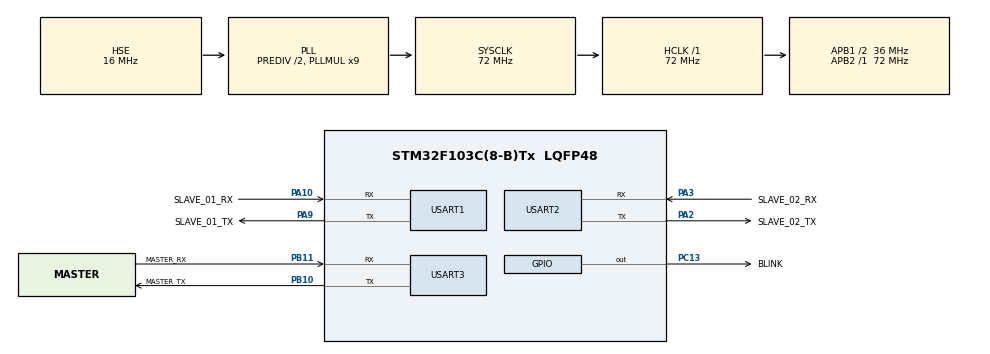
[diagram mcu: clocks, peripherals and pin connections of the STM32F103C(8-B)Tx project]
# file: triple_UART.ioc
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Dma.Request0=USART1_RX
Dma.Request1=USART3_RX
Dma.Request2=USART2_RX
Dma.USART1_RX.0.Direction=DMA_PERIPH_TO_MEMORY
Dma.USART1_RX.0.Instance=DMA1_Channel5
Dma.USART1_RX.0.MemDataAlignment=DMA_MDATAALIGN_BYTE
Dma.USART1_RX.0.MemInc=DMA_MINC_ENABLE
Dma.USART1_RX.0.Mode=DMA_CIRCULAR
Dma.USART1_RX.0.PeriphDataAlignment=DMA_PDATAALIGN_BYTE
Dma.USART1_RX.0.PeriphInc=DMA_PINC_DISABLE
Dma.USART1_RX.0.Priority=DMA_PRIORITY_HIGH
Dma.USART2_RX.2.Direction=DMA_PERIPH_TO_MEMORY
Dma.USART2_RX.2.Instance=DMA1_Channel6
Dma.USART2_RX.2.MemDataAlignment=DMA_MDATAALIGN_BYTE
Dma.USART2_RX.2.MemInc=DMA_MINC_ENABLE
Dma.USART2_RX.2.Mode=DMA_CIRCULAR
Dma.USART2_RX.2.PeriphDataAlignment=DMA_PDATAALIGN_BYTE
Dma.USART2_RX.2.PeriphInc=DMA_PINC_DISABLE
Dma.USART2_RX.2.Priority=DMA_PRIORITY_MEDIUM
Dma.USART3_RX.1.Direction=DMA_PERIPH_TO_MEMORY
Dma.USART3_RX.1.Instance=DMA1_Channel3
Dma.USART3_RX.1.MemDataAlignment=DMA_MDATAALIGN_BYTE
Dma.USART3_RX.1.MemInc=DMA_MINC_ENABLE
Dma.USART3_RX.1.Mode=DMA_CIRCULAR
Dma.USART3_RX.1.PeriphDataAlignment=DMA_PDATAALIGN_BYTE
Dma.USART3_RX.1.PeriphInc=DMA_PINC_DISABLE
Dma.USART3_RX.1.Priority=DMA_PRIORITY_VERY_HIGH
Mcu.Family=STM32F1
Mcu.Name=STM32F103C(8-B)Tx
Mcu.Package=LQFP48
NVIC.DMA1_Channel3_IRQn=true\:0\:0\:false\:false\:true\:false\:true\:true
NVIC.DMA1_Channel5_IRQn=true\:1\:0\:true\:false\:true\:false\:true\:true
NVIC.DMA1_Channel6_IRQn=true\:2\:0\:true\:false\:true\:false\:true\:true
NVIC.PriorityGroup=NVIC_PRIORITYGROUP_4
NVIC.USART1_IRQn=true\:0\:0\:false\:false\:true\:true\:true\:true
NVIC.USART2_IRQn=true\:1\:0\:true\:false\:true\:true\:true\:true
NVIC.USART3_IRQn=true\:2\:0\:true\:false\:true\:true\:true\:true
PA10.GPIO_Label=SLAVE_01_RX
PA10.Mode=Asynchronous
PA10.Signal=USART1_RX
PA13.Mode=Serial_Wire
PA13.Signal=SYS_JTMS-SWDIO
PA14.Mode=Serial_Wire
PA14.Signal=SYS_JTCK-SWCLK
PA2.GPIO_Label=SLAVE_02_TX
PA2.Mode=Asynchronous
PA2.Signal=USART2_TX
PA3.GPIO_Label=SLAVE_02_RX
PA3.Mode=Asynchronous
PA3.Signal=USART2_RX
PA9.GPIO_Label=SLAVE_01_TX
PA9.Mode=Asynchronous
PA9.Signal=USART1_TX
PB10.GPIO_Label=MASTER_TX
PB10.Mode=Asynchronous
PB10.Signal=USART3_TX
PB11.GPIO_Label=MASTER_RX
PB11.Mode=Asynchronous
PB11.Signal=USART3_RX
PC13-TAMPER-RTC.GPIO_Label=BLINK
PC13-TAMPER-RTC.Signal=GPIO_Output
PD0-OSC_IN.Mode=HSE-External-Oscillator
PD0-OSC_IN.Signal=RCC_OSC_IN
PD1-OSC_OUT.Mode=HSE-External-Oscillator
PD1-OSC_OUT.Signal=RCC_OSC_OUT
ProjectManager.HeapSize=0x200
ProjectManager.StackSize=0x400
ProjectManager.TargetToolchain=STM32CubeIDE
RCC.AHBFreq_Value=72000000
RCC.APB1CLKDivider=RCC_HCLK_DIV2
RCC.APB1Freq_Value=36000000
RCC.APB1TimFreq_Value=72000000
RCC.APB2Freq_Value=72000000
RCC.APB2TimFreq_Value=72000000
RCC.HCLKFreq_Value=72000000
RCC.HSEDivPLL=RCC_HSE_PREDIV_DIV2
RCC.HSE_VALUE=16000000
RCC.PLLMUL=RCC_PLL_MUL9
RCC.PLLSourceVirtual=RCC_PLLSOURCE_HSE
RCC.SYSCLKFreq_VALUE=72000000
RCC.SYSCLKSource=RCC_SYSCLKSOURCE_PLLCLK
RCC.USBFreq_Value=72000000
USART1.VirtualMode=VM_ASYNC
USART2.VirtualMode=VM_ASYNC
USART3.VirtualMode=VM_ASYNC
board=custom

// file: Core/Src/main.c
/* USER CODE BEGIN Header */
/**
 ******************************************************************************
 * @file           : main.c
 * @brief          : Main program body
 ******************************************************************************
 * @attention
 *
 * Copyright (c) 2025 STMicroelectronics.
 * All rights reserved.
 *
 * This software is licensed under terms that can be found in the LICENSE file
 * in the root directory of this software component.
 * If no LICENSE file comes with this software, it is provided AS-IS.
 *
 ******************************************************************************
 */
/* USER CODE END Header */
#include "main.h"

/* USER CODE BEGIN Includes */
#include <stdbool.h>
#include <stdio.h>

/* USER CODE END Includes */

/* USER CODE BEGIN PTD */
#define MAX_DATA_LEN 16 // Maksimum veri boyutu (başlık + veri boyu + tür + adres + veri)
uint8_t unsignedData[MAX_DATA_LEN] = {0x45, 0x43, 0x45, 0x00, 0x00};
uint8_t signedData[MAX_DATA_LEN] = {0x00, 0x45, 0x43, 0x45, 0x00, 0x00};
volatile bool dualMode = false;
volatile bool transmitFlag = false;

uint8_t _1uartHeader[1];          // Başlık (2) + Veri boyu (1) + Tür(1) + Adres + Veri
uint8_t _1uartData[MAX_DATA_LEN]; // Başlık (2) + Veri boyu (1) + Tür(1) + Adres + Veri

uint8_t _2uartHeader[1];          // Başlık (2) + Veri boyu (1) + Tür(1) + Adres + Veri
uint8_t _2uartData[MAX_DATA_LEN]; // Başlık (2) + Veri boyu (1) + Tür(1) + Adres + Veri

uint8_t _3uartHeader[1];          // Başlık (2) + Veri boyu (1) + Tür(1) + Adres + Veri
uint8_t _3uartData[MAX_DATA_LEN]; // Başlık (2) + Veri boyu (1) + Tür(1) + Adres + Veri

uint8_t _3MyDirection = 0;           // 01 -> 1.Makine ___ 02 -> 2.Makine ___ 03 -> MASTER
volatile bool _2MyDirection = false; // 01 -> 1.Makine ___ 02 -> 2.Makine ___ 03 -> MASTER
volatile bool _1MyDirection = false; // 01 -> 1.Makine ___ 02 -> 2.Makine ___ 03 -> MASTER

uint8_t _3dataLen = 0;               // Alınan veri boyutu
volatile bool _3headerCheck = false; // Başlık kontrolü için değişken
volatile bool _3header0 = false;     // başlık 1. bayte kontrolü için değişken
volatile bool _3header1 = false;     // başlık 2. bayte kontrolü için değişken
volatile bool _3header2 = false;     // başlık 2. bayte kontrolü için değişken

uint8_t _2dataLen = 0;               // Alınan veri boyutu
volatile bool _2headerCheck = false; // Başlık kontrolü için değişken
volatile bool _2header0 = false;     // başlık 1. bayte kontrolü için değişken
volatile bool _2header1 = false;     // başlık 2. bayte kontrolü için değişken
volatile bool _2header2 = false;     // başlık 2. bayte kontrolü için değişken

uint8_t _1dataLen = 0;               // Alınan veri boyutu
volatile bool _1headerCheck = false; // Başlık kontrolü için değişken
volatile bool _1header0 = false;     // başlık 1. bayte kontrolü için değişken
volatile bool _1header1 = false;     // başlık 2. bayte kontrolü için değişken
volatile bool _1header2 = false;     // başlık 2. bayte kontrolü için değişken
/* USER CODE END PTD */

UART_HandleTypeDef huart1;
UART_HandleTypeDef huart2;
UART_HandleTypeDef huart3;
DMA_HandleTypeDef hdma_usart1_rx;
DMA_HandleTypeDef hdma_usart2_rx;
DMA_HandleTypeDef hdma_usart3_rx;

void SystemClock_Config(void);
static void MX_GPIO_Init(void);
static void MX_DMA_Init(void);
static void MX_USART1_UART_Init(void);
static void MX_USART2_UART_Init(void);
static void MX_USART3_UART_Init(void);
/* USER CODE BEGIN PFP */
void TransmitToSlave(uint8_t *data, uint8_t len);  // VERİLERİN İŞLENME FONKSİYONU DÜZENLENECEK
void TransmitToMaster(uint8_t *data, uint8_t len); // VERİLERİN İŞLENME FONKSİYONU DÜZENLENECEK
/* USER CODE END PFP */

/* USER CODE BEGIN 0 */
void TransmitToSlave(uint8_t *data, uint8_t len) // VERİLERİN SLAVE KARTLARA İLETİM FONKSİYONU
{
  unsignedData[3] = len;        // 0x06
  for (int i = 0; i < len; i++) // gönderilecek verinin hazırlanması
    unsignedData[i + 4] = data[i];

  if (_3MyDirection == 0x01 || _3MyDirection == 0x00)
    HAL_UART_Transmit(&huart1, unsignedData, len + 4, 2);
  else if (_3MyDirection == 0x02)
    HAL_UART_Transmit(&huart2, unsignedData, len + 4, 2);
  _3MyDirection = 0x00;
}

void TransmitToMaster(uint8_t *data, uint8_t len) // VERİLERİN MASTER KARTINA İLETİM FONKSİYONU
{
  if (dualMode)
  {                               // 0-01 / 1-42 / 2-45 / 3-Veri boyutu / 4-1.veri / 5-2.veri / 6-3.veri / 7-4.veri / 8-5.veri / 9-6.veri
    signedData[4] = len;          // 0x06
    for (int i = 0; i < len; i++) // gönderilecek verinin hazırlanması
    {
      signedData[i + 5] = data[i];
    }

    if (_1MyDirection) // Mesaj 1.slaveden mastera gidecek
    {
      signedData[0] = 0x01;
      _1MyDirection = false;
    }
    else if (_2MyDirection) // Mesaj 2.slaveden mastera gidecek
    {
      signedData[0] = 0x02;
      _2MyDirection = false;
    }

    HAL_UART_Transmit(&huart3, signedData, len + 5, 2);
    return;
  }

  unsignedData[3] = len;        // 0x06
  for (int i = 0; i < len; i++) // gönderilecek verinin hazırlanması
  {
    unsignedData[i + 4] = data[i];
  }
  HAL_UART_Transmit(&huart3, unsignedData, len + 4, 2);
}

void HAL_UART_RxCpltCallback(UART_HandleTypeDef *huart)
{
  if (huart->Instance == USART3) // MASTER
  {

    // transmitFlag = true; // Masterdan mesaj geldikten sonra veri iletimini başlatır.
    if (!_3header0)
    {
      HAL_GPIO_TogglePin(GPIOC, BLINK_Pin);

      if (_3uartHeader[0] == 0x45) // Başlık kontrolü
      {
        transmitFlag = true;
        _3header0 = true; // Başlık kontrolü başarılı
      }
      else if (_3uartHeader[0] == 0x01 || _3uartHeader[0] == 0x02)
      {
        _3MyDirection = _3uartHeader[0];
        dualMode = true;
      }
      HAL_UART_Receive_DMA(&huart3, _3uartHeader, 1); // Başlık kısmını dinlemeye devam et
    }
    else if (_3header0 && !_3header1)
    {
      if (_3uartHeader[0] == 0x43) // Başlık kontrolü
        _3header1 = true;
      else
        _3header0 = false;                            // Başlık kontrolü başarısız, başlık kısmını sıfırla
      HAL_UART_Receive_DMA(&huart3, _3uartHeader, 1); // Başlık kısmını dinlemeye devam et
    }
    else if (_3header0 && _3header1 && !_3header2)
    {
      if (_3uartHeader[0] == 0x45) // Başlık kontrolü
        _3header2 = true;
      else
      {
        _3header0 = false; // Başlık kontrolü başarısız, başlık kısmını sıfırla
        _3header1 = false;
      }
      HAL_UART_Receive_DMA(&huart3, _3uartHeader, 1); // Başlık kısmını dinlemeye devam et
    }
    else if (_3header0 && _3header1 && _3header2 && !_3headerCheck) // Başlık kontrolü
    {
      _3dataLen = _3uartHeader[0];  // Veri boyutunu al
      if (_3dataLen > MAX_DATA_LEN) // Eğer veri boyutu MAX_DATA_LEN'den büyükse
      {
        _3header0 = false;                              // Başlık kısmını sıfırla
        _3header1 = false;                              // Başlık kısmını sıfırla
        _3header2 = false;                              // Başlık kısmını sıfırla
        HAL_UART_Receive_DMA(&huart3, _3uartHeader, 1); // Başlık kısmını dinlemeye devam et
      }
      else
      {
        _3headerCheck = true;                                 // Başlık kontrolü başarılı
        HAL_UART_Receive_DMA(&huart3, _3uartData, _3dataLen); // Gelen veriyi al
      }
    }
    else if (_3headerCheck)
    {
      _3headerCheck = false; // Başlık kontrolünü sıfırla
      _3header0 = false;     // Başlık kısmını sıfırla
      _3header1 = false;     // Başlık kısmını sıfırla
      _3header2 = false;     // Başlık kısmını sıfırla
      _3MyDirection = 0x01;

      TransmitToSlave(&_3uartData[0], _3dataLen);     // Gelen veriyi işleme fonksiyonunu çağırıyoruz
      HAL_UART_Receive_DMA(&huart3, _3uartHeader, 1); // Başlık kısmını dinlemeye devam et
    }
  }
  if (huart->Instance == USART1 && transmitFlag) // 1.Makine
  {
    if (!_1header0)
    {
      if (_1uartHeader[0] == 0x45)                    // Başlık kontrolü
        _1header0 = true;                             // Başlık kontrolü başarılı
      HAL_UART_Receive_DMA(&huart1, _1uartHeader, 1); // Başlık kısmını dinlemeye devam et
    }
    else if (_1header0 && !_1header1)
    {
      if (_1uartHeader[0] == 0x43) // Başlık kontrolü
        _1header1 = true;
      else
        _1header0 = false;                            // Başlık kontrolü başarısız, başlık kısmını sıfırla
      HAL_UART_Receive_DMA(&huart1, _1uartHeader, 1); // Başlık kısmını dinlemeye devam et
    }
    else if (_1header0 && _1header1 && !_1header2)
    {
      if (_1uartHeader[0] == 0x45) // Başlık kontrolü
        _1header2 = true;
      else
      {
        _1header0 = false; // Başlık kontrolü başarısız, başlık kısmını sıfırla
        _1header1 = false; // Başlık kontrolü başarısız, başlık kısmını sıfırla
      }
      HAL_UART_Receive_DMA(&huart1, _1uartHeader, 1); // Başlık kısmını dinlemeye devam et
    }
    else if (_1header0 && _1header1 && _1header2 && !_1headerCheck) // Başlık kontrolü
    {
      _1dataLen = _1uartHeader[0];  // Veri boyutunu al
      if (_1dataLen > MAX_DATA_LEN) // Eğer veri boyutu MAX_DATA_LEN'den büyükse
      {
        _1header0 = false;                              // Başlık kısmını sıfırla
        _1header1 = false;                              // Başlık kısmını sıfırla
        HAL_UART_Receive_DMA(&huart1, _1uartHeader, 1); // Başlık kısmını dinlemeye devam et
      }
      else
      {
        _1headerCheck = true;                                 // Başlık kontrolü başarılı
        HAL_UART_Receive_DMA(&huart1, _1uartData, _1dataLen); // Gelen veriyi al
      }
    }
    else if (_1headerCheck)
    {
      _1headerCheck = false; // Başlık kontrolünü sıfırla
      _1header0 = false;     // Başlık kısmını sıfırla
      _1header1 = false;     // Başlık kısmını sıfırla
      _1header2 = false;     // Başlık kısmını sıfırla

      _1MyDirection = true;
      TransmitToMaster(&_1uartData[0], _1dataLen);    // Gelen veriyi işleme fonksiyonunu çağırıyoruz
      HAL_UART_Receive_DMA(&huart1, _1uartHeader, 1); // Başlık kısmını dinlemeye devam et
    }
  }
  if (huart->Instance == USART2 && transmitFlag) // 2.Makine
  {
    if (!_2header0)
    {
      if (_2uartHeader[0] == 0x45)                    // Başlık kontrolü
        _2header0 = true;                             // Başlık kontrolü başarılı
      HAL_UART_Receive_DMA(&huart2, _2uartHeader, 1); // Başlık kısmını dinlemeye devam et
    }
    else if (_2header0 && !_2header1)
    {
      if (_2uartHeader[0] == 0x43) // Başlık kontrolü
        _2header1 = true;
      else
        _2header0 = false;                            // Başlık kontrolü başarısız, başlık kısmını sıfırla
      HAL_UART_Receive_DMA(&huart2, _2uartHeader, 1); // Başlık kısmını dinlemeye devam et
    }
    else if (_2header0 && _2header1 && !_2header2)
    {
      if (_2uartHeader[0] == 0x45) // Başlık kontrolü
        _2header2 = true;
      else
      {
        _2header0 = false; // Başlık kontrolü başarısız, başlık kısmını sıfırla
        _2header1 = false; // Başlık kontrolü başarısız, başlık kısmını sıfırla
      }
      HAL_UART_Receive_DMA(&huart2, _2uartHeader, 1); // Başlık kısmını dinlemeye devam et
    }
    else if (_2header0 && _2header1 && _2header2 && !_2headerCheck) // Başlık kontrolü
    {
      _2dataLen = _2uartHeader[0];  // Veri boyutunu al
      if (_2dataLen > MAX_DATA_LEN) // Eğer veri boyutu MAX_DATA_LEN'den büyükse
      {
        _2header0 = false;                              // Başlık kısmını sıfırla
        _2header1 = false;                              // Başlık kısmını sıfırla
        _2header2 = false;                              // Başlık kısmını sıfırla
        HAL_UART_Receive_DMA(&huart2, _2uartHeader, 1); // Başlık kısmını dinlemeye devam et
      }
      else
      {
        _2headerCheck = true;                                 // Başlık kontrolü başarılı
        HAL_UART_Receive_DMA(&huart2, _2uartData, _2dataLen); // Gelen veriyi al
      }
    }
    else if (_2headerCheck)
    {
      _2headerCheck = false; // Başlık kontrolünü sıfırla
      _2header0 = false;     // Başlık kısmını sıfırla
      _2header1 = false;     // Başlık kısmını sıfırla
      _2header2 = false;     // Başlık kısmını sıfırla

      _2MyDirection = true;
      TransmitToMaster(&_2uartData[0], _2dataLen);    // Gelen veriyi işleme fonksiyonunu çağırıyoruz
      HAL_UART_Receive_DMA(&huart2, _2uartHeader, 1); // Başlık kısmını dinlemeye devam et
    }
  }
}
/* USER CODE END 0 */

int main(void)
{

  /* MCU Configuration--------------------------------------------------------*/

  /* Reset of all peripherals, Initializes the Flash interface and the Systick. */
  HAL_Init();

  /* Configure the system clock */
  SystemClock_Config();

  /* Initialize all configured peripherals */
  MX_GPIO_Init();
  MX_DMA_Init();
  MX_USART1_UART_Init();
  MX_USART2_UART_Init();
  MX_USART3_UART_Init();
  /* USER CODE BEGIN 2 */

  // USART1 başlatma
  // HAL_UART_Init(&huart1);
  // USART1 için DMA alımı başlatma
  // HAL_UART_Receive_DMA(&huart1, _1uartHeader, 1);

  // USART2 başlatma
  // HAL_UART_Init(&huart2);
  // USART2 için DMA alımı başlatma
  // HAL_UART_Receive_DMA(&huart2, _2uartHeader, 1);

  // USART3 başlatma
  HAL_UART_Init(&huart3);
  // USART3 için DMA alımı başlatma
  HAL_UART_Receive_DMA(&huart3, _3uartHeader, 1);

  /* USER CODE END 2 */

  /* Infinite loop */
  while (1)
  {

  }
}

void SystemClock_Config(void)
{
  RCC_OscInitTypeDef RCC_OscInitStruct = {0};
  RCC_ClkInitTypeDef RCC_ClkInitStruct = {0};

  /** Initializes the RCC Oscillators according to the specified parameters
  * in the RCC_OscInitTypeDef structure.
  */
  RCC_OscInitStruct.OscillatorType = RCC_OSCILLATORTYPE_HSE;
  RCC_OscInitStruct.HSEState = RCC_HSE_ON;
  RCC_OscInitStruct.HSEPredivValue = RCC_HSE_PREDIV_DIV2;
  RCC_OscInitStruct.HSIState = RCC_HSI_ON;
  RCC_OscInitStruct.PLL.PLLState = RCC_PLL_ON;
  RCC_OscInitStruct.PLL.PLLSource = RCC_PLLSOURCE_HSE;
  RCC_OscInitStruct.PLL.PLLMUL = RCC_PLL_MUL9;
  if (HAL_RCC_OscConfig(&RCC_OscInitStruct) != HAL_OK)
  {
    Error_Handler();
  }

  /** Initializes the CPU, AHB and APB buses clocks
  */
  RCC_ClkInitStruct.ClockType = RCC_CLOCKTYPE_HCLK|RCC_CLOCKTYPE_SYSCLK
                              |RCC_CLOCKTYPE_PCLK1|RCC_CLOCKTYPE_PCLK2;
  RCC_ClkInitStruct.SYSCLKSource = RCC_SYSCLKSOURCE_PLLCLK;
  RCC_ClkInitStruct.AHBCLKDivider = RCC_SYSCLK_DIV1;
  RCC_ClkInitStruct.APB1CLKDivider = RCC_HCLK_DIV2;
  RCC_ClkInitStruct.APB2CLKDivider = RCC_HCLK_DIV1;

  if (HAL_RCC_ClockConfig(&RCC_ClkInitStruct, FLASH_LATENCY_2) != HAL_OK)
  {
    Error_Handler();
  }
}

static void MX_USART1_UART_Init(void)
{

  huart1.Instance = USART1;
  huart1.Init.BaudRate = 115200;
  huart1.Init.WordLength = UART_WORDLENGTH_8B;
  huart1.Init.StopBits = UART_STOPBITS_1;
  huart1.Init.Parity = UART_PARITY_NONE;
  huart1.Init.Mode = UART_MODE_TX_RX;
  huart1.Init.HwFlowCtl = UART_HWCONTROL_NONE;
  huart1.Init.OverSampling = UART_OVERSAMPLING_16;
  if (HAL_UART_Init(&huart1) != HAL_OK)
  {
    Error_Handler();
  }

}

static void MX_USART2_UART_Init(void)
{

  huart2.Instance = USART2;
  huart2.Init.BaudRate = 115200;
  huart2.Init.WordLength = UART_WORDLENGTH_8B;
  huart2.Init.StopBits = UART_STOPBITS_1;
  huart2.Init.Parity = UART_PARITY_NONE;
  huart2.Init.Mode = UART_MODE_TX_RX;
  huart2.Init.HwFlowCtl = UART_HWCONTROL_NONE;
  huart2.Init.OverSampling = UART_OVERSAMPLING_16;
  if (HAL_UART_Init(&huart2) != HAL_OK)
  {
    Error_Handler();
  }

}

static void MX_USART3_UART_Init(void)
{

  huart3.Instance = USART3;
  huart3.Init.BaudRate = 115200;
  huart3.Init.WordLength = UART_WORDLENGTH_8B;
  huart3.Init.StopBits = UART_STOPBITS_1;
  huart3.Init.Parity = UART_PARITY_NONE;
  huart3.Init.Mode = UART_MODE_TX_RX;
  huart3.Init.HwFlowCtl = UART_HWCONTROL_NONE;
  huart3.Init.OverSampling = UART_OVERSAMPLING_16;
  if (HAL_UART_Init(&huart3) != HAL_OK)
  {
    Error_Handler();
  }

}

static void MX_DMA_Init(void)
{

  /* DMA controller clock enable */
  __HAL_RCC_DMA1_CLK_ENABLE();

  /* DMA interrupt init */
  /* DMA1_Channel3_IRQn interrupt configuration */
  HAL_NVIC_SetPriority(DMA1_Channel3_IRQn, 0, 0);
  HAL_NVIC_EnableIRQ(DMA1_Channel3_IRQn);
  /* DMA1_Channel5_IRQn interrupt configuration */
  HAL_NVIC_SetPriority(DMA1_Channel5_IRQn, 1, 0);
  HAL_NVIC_EnableIRQ(DMA1_Channel5_IRQn);
  /* DMA1_Channel6_IRQn interrupt configuration */
  HAL_NVIC_SetPriority(DMA1_Channel6_IRQn, 2, 0);
  HAL_NVIC_EnableIRQ(DMA1_Channel6_IRQn);

}

static void MX_GPIO_Init(void)
{
  GPIO_InitTypeDef GPIO_InitStruct = {0};

  /* GPIO Ports Clock Enable */
  __HAL_RCC_GPIOC_CLK_ENABLE();
  __HAL_RCC_GPIOD_CLK_ENABLE();
  __HAL_RCC_GPIOA_CLK_ENABLE();
  __HAL_RCC_GPIOB_CLK_ENABLE();

  /*Configure GPIO pin Output Level */
  HAL_GPIO_WritePin(BLINK_GPIO_Port, BLINK_Pin, GPIO_PIN_RESET);

  /*Configure GPIO pin : BLINK_Pin */
  GPIO_InitStruct.Pin = BLINK_Pin;
  GPIO_InitStruct.Mode = GPIO_MODE_OUTPUT_PP;
  GPIO_InitStruct.Pull = GPIO_NOPULL;
  GPIO_InitStruct.Speed = GPIO_SPEED_FREQ_LOW;
  HAL_GPIO_Init(BLINK_GPIO_Port, &GPIO_InitStruct);

}

void Error_Handler(void)
{
  __disable_irq();
  while (1)
  {
  }
}
